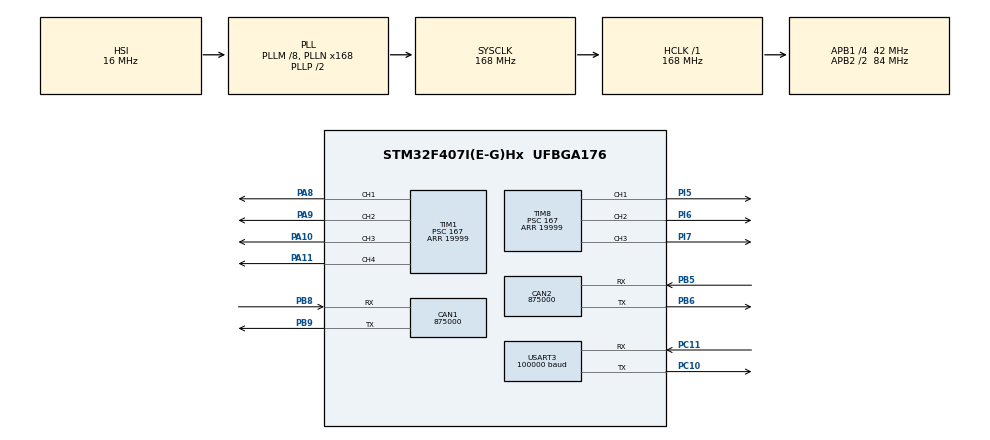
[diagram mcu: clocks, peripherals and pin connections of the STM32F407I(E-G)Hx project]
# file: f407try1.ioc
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CAN1.CalculateBaudRate=875000
CAN1.CalculateTimeBit=1142
CAN1.CalculateTimeQuantum=380.95238095238096
CAN2.CalculateBaudRate=875000
CAN2.CalculateTimeBit=1142
CAN2.CalculateTimeQuantum=380.95238095238096
Dma.Request0=USART3_RX
Dma.USART3_RX.0.Direction=DMA_PERIPH_TO_MEMORY
Dma.USART3_RX.0.FIFOMode=DMA_FIFOMODE_DISABLE
Dma.USART3_RX.0.Instance=DMA1_Stream1
Dma.USART3_RX.0.MemDataAlignment=DMA_MDATAALIGN_BYTE
Dma.USART3_RX.0.MemInc=DMA_MINC_ENABLE
Dma.USART3_RX.0.Mode=DMA_NORMAL
Dma.USART3_RX.0.PeriphDataAlignment=DMA_PDATAALIGN_BYTE
Dma.USART3_RX.0.PeriphInc=DMA_PINC_DISABLE
Dma.USART3_RX.0.Priority=DMA_PRIORITY_VERY_HIGH
Mcu.Family=STM32F4
Mcu.Name=STM32F407I(E-G)Hx
Mcu.Package=UFBGA176
NVIC.CAN1_RX0_IRQn=true\:0\:0\:false\:false\:true\:true\:true\:true
NVIC.CAN2_RX0_IRQn=true\:0\:0\:false\:false\:true\:true\:true\:true
NVIC.DMA1_Stream1_IRQn=true\:0\:0\:false\:false\:true\:false\:true\:true
NVIC.PriorityGroup=NVIC_PRIORITYGROUP_4
PA10.Signal=S_TIM1_CH3
PA11.Signal=S_TIM1_CH4
PA13.Mode=Serial_Wire
PA13.Signal=SYS_JTMS-SWDIO
PA14.Mode=Serial_Wire
PA14.Signal=SYS_JTCK-SWCLK
PA8.Signal=S_TIM1_CH1
PA9.Signal=S_TIM1_CH2
PB5.Mode=CAN_Activate
PB5.Signal=CAN2_RX
PB6.Mode=CAN_Activate
PB6.Signal=CAN2_TX
PB8.Mode=CAN_Activate
PB8.Signal=CAN1_RX
PB9.Mode=CAN_Activate
PB9.Signal=CAN1_TX
PC10.Mode=Asynchronous
PC10.Signal=USART3_TX
PC11.Mode=Asynchronous
PC11.Signal=USART3_RX
PH0-OSC_IN.Mode=HSE-External-Oscillator
PH0-OSC_IN.Signal=RCC_OSC_IN
PH1-OSC_OUT.Mode=HSE-External-Oscillator
PH1-OSC_OUT.Signal=RCC_OSC_OUT
PI5.Signal=S_TIM8_CH1
PI6.Signal=S_TIM8_CH2
PI7.Signal=S_TIM8_CH3
ProjectManager.HeapSize=0x200
ProjectManager.StackSize=0x400
ProjectManager.TargetToolchain=MDK-ARM V5.32
RCC.48MHZClocksFreq_Value=84000000
RCC.AHBFreq_Value=168000000
RCC.APB1CLKDivider=RCC_HCLK_DIV4
RCC.APB1Freq_Value=42000000
RCC.APB1TimFreq_Value=84000000
RCC.APB2CLKDivider=RCC_HCLK_DIV2
RCC.APB2Freq_Value=84000000
RCC.APB2TimFreq_Value=168000000
RCC.CortexFreq_Value=168000000
RCC.HCLKFreq_Value=168000000
RCC.HSE_VALUE=25000000
RCC.HSI_VALUE=16000000
RCC.LSE_VALUE=32768
RCC.PLLM=8
RCC.PLLN=168
RCC.SYSCLKFreq_VALUE=168000000
RCC.SYSCLKSource=RCC_SYSCLKSOURCE_PLLCLK
RCC.VCOOutputFreq_Value=336000000
SH.S_TIM1_CH1.0=TIM1_CH1,PWM Generation1 CH1
SH.S_TIM1_CH2.0=TIM1_CH2,PWM Generation2 CH2
SH.S_TIM1_CH3.0=TIM1_CH3,PWM Generation3 CH3
SH.S_TIM1_CH4.0=TIM1_CH4,PWM Generation4 CH4
SH.S_TIM8_CH1.0=TIM8_CH1,PWM Generation1 CH1
SH.S_TIM8_CH2.0=TIM8_CH2,PWM Generation2 CH2
SH.S_TIM8_CH3.0=TIM8_CH3,PWM Generation3 CH3
TIM1.Channel-PWM\ Generation1\ CH1=TIM_CHANNEL_1
TIM1.Channel-PWM\ Generation2\ CH2=TIM_CHANNEL_2
TIM1.Channel-PWM\ Generation3\ CH3=TIM_CHANNEL_3
TIM1.Channel-PWM\ Generation4\ CH4=TIM_CHANNEL_4
TIM1.Period=19999
TIM1.Prescaler=167
TIM8.Channel-PWM\ Generation1\ CH1=TIM_CHANNEL_1
TIM8.Channel-PWM\ Generation2\ CH2=TIM_CHANNEL_2
TIM8.Channel-PWM\ Generation3\ CH3=TIM_CHANNEL_3
TIM8.Period=19999
TIM8.Prescaler=167
USART3.BaudRate=100000
USART3.VirtualMode=VM_ASYNC
board=custom

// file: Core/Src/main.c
/* USER CODE BEGIN Header */
/**
  ******************************************************************************
  * @file           : main.c
  * @brief          : Main program body
  ******************************************************************************
  * @attention
  *
  * Copyright (c) 2025 STMicroelectronics.
  * All rights reserved.
  *
  * This software is licensed under terms that can be found in the LICENSE file
  * in the root directory of this software component.
  * If no LICENSE file comes with this software, it is provided AS-IS.
  *
  ******************************************************************************
  */
/* USER CODE END Header */
#include "main.h"
#include "can.h"
#include "dma.h"
#include "tim.h"
#include "usart.h"
#include "gpio.h"

/* USER CODE BEGIN Includes */
#include "pid.h"
#include "CAN_receive.h"
#include "bsp_can.h"
#include "motor.h"

/* USER CODE END Includes */

/* USER CODE BEGIN PV */
RC_Ctl_t RC_Ctl;  //main.h中，遥控数据结构体
const fp32 PID[3]={5,0.1, 0};
 pid_type_def motor_pid[5];
const  motor_measure_t *motor_data[4];
const  motor_measure_t *motor_data_1;
 int set_speed[5] = {0, 0, 0, 0, 0}; // 定义+初始化
int16_t g_sbus_channels[18] = {0};  // 定义+初始化
uint8_t sbus_data[25];//通道值传输数组

/* USER CODE END PV */

void SystemClock_Config(void);

/* USER CODE BEGIN 0 */
int map(int x,int k){
 return (x-992)*k;
}

/* USER CODE END 0 */

int main(void)
{

  /* MCU Configuration--------------------------------------------------------*/

  /* Reset of all peripherals, Initializes the Flash interface and the Systick. */
  HAL_Init();

  /* Configure the system clock */
  SystemClock_Config();

  /* Initialize all configured peripherals */
  MX_GPIO_Init();
  MX_DMA_Init();
  MX_CAN1_Init();
  MX_CAN2_Init();
  MX_TIM1_Init();
  MX_TIM8_Init();
  MX_USART3_UART_Init();
	can_filter_init();
	HAL_UART_Receive_DMA(&huart3,sbus_data,25);//启动DMA接收
	for (int i=0;i<5;i++){
	PID_init(&motor_pid[i],PID_POSITION,PID,16000,2000);

	}//循环初始化每一个马达pid
	motor_data[0] = get_chassis_motor_measure_point(0);
  motor_data[1] = get_chassis_motor_measure_point(1);
  motor_data[2] = get_chassis_motor_measure_point(2);
  motor_data[3] = get_chassis_motor_measure_point(3);

	motor_data_1 = get_yaw_gimbal_motor_measure_point();

  HAL_TIM_PWM_Start(&htim1, TIM_CHANNEL_1);
  HAL_TIM_PWM_Start(&htim1, TIM_CHANNEL_2);
	HAL_TIM_PWM_Start(&htim8, TIM_CHANNEL_1);
  HAL_TIM_PWM_Start(&htim8, TIM_CHANNEL_2);

  /* Infinite loop */
  /* USER CODE BEGIN WHILE */
  while (1)
  {
		if(g_sbus_channels[0]>992&g_sbus_channels[0]<1800){
		 forward();
		}
		else if(g_sbus_channels[0]<992&g_sbus_channels[0]>100){
		back();
		}
		else{
		 motor_init1();
		}
		if(g_sbus_channels[1]>992&g_sbus_channels[1]<1800){
		right();
		}
		else if(g_sbus_channels[1]<992&g_sbus_channels[1]>100){
		left();
		}
		else{
		 motor_init1();
		}

    /* USER CODE END WHILE */

    /* USER CODE BEGIN 3 */
 for(int i=0;i<4;i++){
 PID_calc(&motor_pid[i],motor_data[i]->speed_rpm,set_speed[i]);
 }
PID_calc(&motor_pid[4],motor_data_1->speed_rpm,set_speed[4]);
 CAN_cmd_chassis(motor_pid[0].out,motor_pid[1].out,motor_pid[2].out,motor_pid[3].out);
 CAN_cmd_gimbal(motor_pid[4].out ,0,0,0);

HAL_Delay(20);

	}
  /* USER CODE END 3 */
}

void SystemClock_Config(void)
{
  RCC_OscInitTypeDef RCC_OscInitStruct = {0};
  RCC_ClkInitTypeDef RCC_ClkInitStruct = {0};

  /** Configure the main internal regulator output voltage
  */
  __HAL_RCC_PWR_CLK_ENABLE();
  __HAL_PWR_VOLTAGESCALING_CONFIG(PWR_REGULATOR_VOLTAGE_SCALE1);

  /** Initializes the RCC Oscillators according to the specified parameters
  * in the RCC_OscInitTypeDef structure.
  */
  RCC_OscInitStruct.OscillatorType = RCC_OSCILLATORTYPE_HSI;
  RCC_OscInitStruct.HSIState = RCC_HSI_ON;
  RCC_OscInitStruct.HSICalibrationValue = RCC_HSICALIBRATION_DEFAULT;
  RCC_OscInitStruct.PLL.PLLState = RCC_PLL_ON;
  RCC_OscInitStruct.PLL.PLLSource = RCC_PLLSOURCE_HSI;
  RCC_OscInitStruct.PLL.PLLM = 8;
  RCC_OscInitStruct.PLL.PLLN = 168;
  RCC_OscInitStruct.PLL.PLLP = RCC_PLLP_DIV2;
  RCC_OscInitStruct.PLL.PLLQ = 4;
  if (HAL_RCC_OscConfig(&RCC_OscInitStruct) != HAL_OK)
  {
    Error_Handler();
  }

  /** Initializes the CPU, AHB and APB buses clocks
  */
  RCC_ClkInitStruct.ClockType = RCC_CLOCKTYPE_HCLK|RCC_CLOCKTYPE_SYSCLK
                              |RCC_CLOCKTYPE_PCLK1|RCC_CLOCKTYPE_PCLK2;
  RCC_ClkInitStruct.SYSCLKSource = RCC_SYSCLKSOURCE_PLLCLK;
  RCC_ClkInitStruct.AHBCLKDivider = RCC_SYSCLK_DIV1;
  RCC_ClkInitStruct.APB1CLKDivider = RCC_HCLK_DIV4;
  RCC_ClkInitStruct.APB2CLKDivider = RCC_HCLK_DIV2;

  if (HAL_RCC_ClockConfig(&RCC_ClkInitStruct, FLASH_LATENCY_5) != HAL_OK)
  {
    Error_Handler();
  }
}

void HAL_UART_RxCpltCallback(UART_HandleTypeDef *UartHandle)
{
				// SBUS 解码：将 25 字节帧中的按位打包数据提取为 0..15 共 16 个 11 位通道值
				// 约定（常见发射机默认）：CH1~CH4 对应四个摇杆轴；具体映射可在发射机中自定义，以下为通用解码结果。
				//
				// 位打包原理：SBUS 将 16 个通道各 11 位紧凑连续存放（LSB 优先），无字节对齐。
				// - 每个通道有 11 位数据；通道 n 的起始位偏移为 `bit_off = 11 * n`（从数据区首字节开始算）。
				// - 起始字节索引 `byte_i = 1 + (bit_off / 8)`（`sbus_data[0]` 常为帧头，因此数据从 1 开始）。
				// - 起始位在该字节中的位置 `bit_in_byte = bit_off % 8`。
				// - 因为可能跨越 2~3 个字节，所以通过右移/左移把跨字节的片段对齐到同一 11 位，再用按位或 `|` 合成，最后用 `& 0x07FF` 取低 11 位。
				// 例如 CH1（n=0）：起始位偏移 0，取 b1 的 8 位 + b2 的低 3 位 -> `(b1 | b2<<8) & 0x07FF`
				//      CH2（n=1）：起始位偏移 11，跨 b2、b3 -> `(b2>>3 | b3<<5) & 0x07FF`
				//      CH3（n=2）：起始位偏移 22，跨 b3、b4、b5 -> `(b3>>6 | b4<<2 | b5<<10) & 0x07FF`
				// 依此类推，下面对每个通道给出对应的跨字节组合与移位说明：
				//
				// 符号与位段标记说明：
				// - 约定 `bX` 表示 `sbus_data[X]`（第 X 个字节）；例如 `b1` 即 `sbus_data[1]`。
				// - `b1[7:0]` 表示字节 b1 的位 7 到位 0（含端点，MSB 到 LSB）；`b2[2:0]` 表示 b2 的最低 3 位。
				// - `>>` 右移表示把某字节的高位段移到低位对齐（提取高位数据）；`<<` 左移表示把某字节的低位段移到高位对齐（填充到 11 位的高位部分）。
				// - `|` 为按位或，用于把跨字节的片段合成一个 11 位值；`& 0x07FF` 仅保留低 11 位有效数据。
				// - 为什么 CH1 用 b1 的 8 位 + b2 的 3 位：因为每通道 11 位且 CH1 从流的起点开始，首 11 位恰好覆盖 b1 的 8 位再接着 b2 的前 3 位（8+3=11）。
				g_sbus_channels[0]  = ((sbus_data[1]  | sbus_data[2]  << 8)                                & 0x07FF); // CH1：b1[7:0] + b2[2:0] -> 11位
	    g_sbus_channels[1]  = ((sbus_data[2]  >> 3 | sbus_data[3]  << 5)                               & 0x07FF); // CH2：b2[7:3] + b3[7:0] 的低 6 位 -> 11位
	    g_sbus_channels[2]  = ((sbus_data[3]  >> 6 | sbus_data[4]  << 2 | sbus_data[5]  << 10)         & 0x07FF); // CH3：b3[7:6] + b4[7:0] + b5[1:0] -> 11位
	    g_sbus_channels[3]  = ((sbus_data[5]  >> 1 | sbus_data[6]  << 7)                               & 0x07FF); // CH4：b5[7:1] + b6[7:0] 的低 4 位 -> 11位
	    g_sbus_channels[4]  = ((sbus_data[6]  >> 4 | sbus_data[7]  << 4)                               & 0x07FF); // CH5：b6[7:4] + b7[7:0] 的低 7 位 -> 11位
	    g_sbus_channels[5]  = ((sbus_data[7]  >> 7 | sbus_data[8]  << 1 | sbus_data[9]  << 9)          & 0x07FF); // CH6：b7[7] + b8[7:0] + b9[3:0] -> 11位
	    g_sbus_channels[6]  = ((sbus_data[9]  >> 2 | sbus_data[10] << 6)                               & 0x07FF); // CH7：b9[7:2] + b10[7:0] 的低 5 位 -> 11位
	    g_sbus_channels[7]  = ((sbus_data[10] >> 5 | sbus_data[11] << 3)                               & 0x07FF); // CH8：b10[7:5] + b11[7:0] 的低 8 位 -> 11位
	    g_sbus_channels[8]  = ((sbus_data[12]      | sbus_data[13] << 8)                               & 0x07FF); // CH9
	    g_sbus_channels[9]  = ((sbus_data[13] >> 3 | sbus_data[14] << 5)                               & 0x07FF); // CH10
	    g_sbus_channels[10] = ((sbus_data[14] >> 6 | sbus_data[15] << 2 | sbus_data[16] << 10)         & 0x07FF); // CH11
	    g_sbus_channels[11] = ((sbus_data[16] >> 1 | sbus_data[17] << 7)                               & 0x07FF); // CH12
		  g_sbus_channels[12] = ((sbus_data[17] >> 4 | sbus_data[18] << 4)                               & 0x07FF); // CH13：同 CH5 模式（位移一轮）
			g_sbus_channels[13] = ((sbus_data[18] >> 7 | sbus_data[19] << 1 | sbus_data[20] << 9)          & 0x07FF); // CH14：同 CH6 模式
	    g_sbus_channels[14] = ((sbus_data[20] >> 2 | sbus_data[21] << 6)                               & 0x07FF); // CH15：同 CH7 模式
	    g_sbus_channels[15] = ((sbus_data[21] >> 5 | sbus_data[22] << 3)                               & 0x07FF);} // CH16：同 CH8 模式
void Error_Handler(void)
{
  __disable_irq();
  while (1)
  {
  }
}
